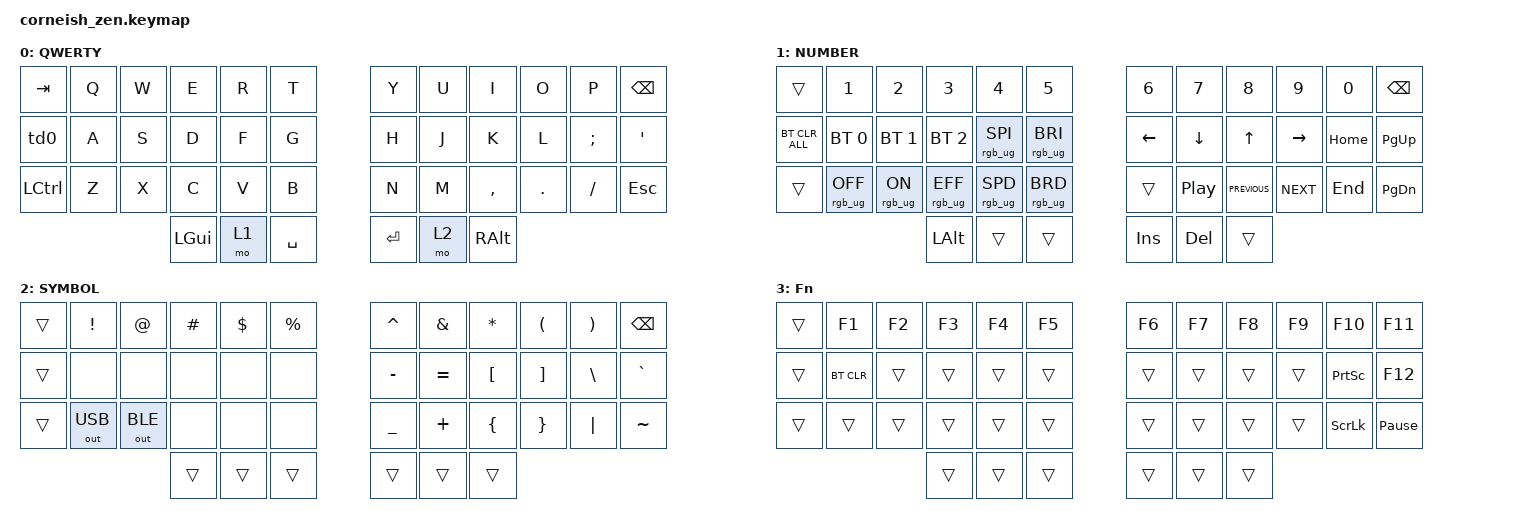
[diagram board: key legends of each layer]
/*
 * Copyright (c) 2020 The ZMK Contributors
 *
 * SPDX-License-Identifier: MIT
 */

#include <behaviors.dtsi>
#include <dt-bindings/zmk/bt.h>
#include <dt-bindings/zmk/keys.h>
#include <dt-bindings/zmk/outputs.h>
#include <dt-bindings/zmk/rgb.h>

/ {
    chosen {
        zmk,matrix_transform = &default_transform;

        // zmk,matrix_transform = &five_column_transform;
    };
};

/ {
    behaviors {
        td0: td0 {
            compatible = "zmk,behavior-tap-dance";
            label = "TD0";
            #binding-cells = <0>;
            bindings = <&kp LEFT_SHIFT>, <&kp CAPS>;
        };
    };

    keymap {
        compatible = "zmk,keymap";

        default_layer {
            display-name = "QWERTY";

            // --------------------------------------------------------------------------------
            // |  TAB |  Q  |  W  |  E  |  R  |  T  |   |  Y  |  U   |  I  |  O  |  P  | BKSP |
            // | SHFT |  A  |  S  |  D  |  F  |  G  |   |  H  |  J   |  K  |  L  |  ;  |  '   | 
            // | CTRL |  Z  |  X  |  C  |  V  |  B  |   |  N  |  M   |  ,  |  .  |  /  | ESC  |
            //                    | WIN | LWR | SPC |   | ENT | RSE  | ALT |

            bindings = <
&kp TAB    &kp Q  &kp W  &kp E     &kp R  &kp T        &kp Y      &kp U  &kp I      &kp O    &kp P     &kp BSPC
&td0       &kp A  &kp S  &kp D     &kp F  &kp G        &kp H      &kp J  &kp K      &kp L    &kp SEMI  &kp SQT
&kp LCTRL  &kp Z  &kp X  &kp C     &kp V  &kp B        &kp N      &kp M  &kp COMMA  &kp DOT  &kp FSLH  &kp ESC
                         &kp LGUI  &mo 1  &kp SPACE    &kp RET    &mo 2  &kp RALT
            >;
        };

        lower_layer {
            display-name = "NUMBER";

            // -----------------------------------------------------------------------------------------
            // |  TAB |  1  |  2  |  3  |  4  |  5  |   |  6  |  7  |  8  |  9  |  0  | BKSP |
            // | BTCLR| BT1 | BT2 | BT3 |RGBSI|RGBBI|   | LFT | DWN |  UP | RGT | HOME| PGUP |
            // | CTRL |RGBOF|RGBON|RGBEF|RGBSD|RGBBD|   |     |  PP | PRVS| NEXT| END | PGDN |
            //                    | ALT |     | SPC |   | INS | DEL | ALT |

            bindings = <
&trans          &kp N1           &kp N2          &kp N3           &kp N4           &kp N5             &kp N6    &kp N7    &kp N8          &kp N9      &kp N0    &kp BSPC
&bt BT_CLR_ALL  &bt BT_SEL 0     &bt BT_SEL 1    &bt BT_SEL 2     &rgb_ug RGB_SPI  &rgb_ug RGB_BRI    &kp LEFT  &kp DOWN  &kp UP          &kp RIGHT   &kp HOME  &kp PG_UP
&trans          &rgb_ug RGB_OFF  &rgb_ug RGB_ON  &rgb_ug RGB_EFF  &rgb_ug RGB_SPD  &rgb_ug RGB_BRD    &trans    &kp C_PP  &kp C_PREVIOUS  &kp C_NEXT  &kp END   &kp PG_DN
                                                 &kp LALT         &trans           &trans             &kp INS   &kp DEL   &trans
            >;
        };

        raise_layer {
            display-name = "SYMBOL";

            // -----------------------------------------------------------------------------------------
            // |  TAB |  !  |  @  |  #  |  $  |  %  |   |  ^  |  &  |  *  |  (  |  )  | BKSP |
            // | SHFT |     |     |     |     |     |   |  -  |  =  |  [  |  ]  |  \  |  `   |
            // | CTRL |OPUSB| OPBT|     |     |     |   |  _  |  +  |  {  |  }  | "|" |  ~   |
            //                    | WIN |     | SPC |   | ENT |     | ALT |

            bindings = <
&trans  &kp EXCL      &kp AT        &kp HASH  &kp DLLR  &kp PRCNT    &kp CARET  &kp AMPS   &kp ASTRK  &kp LPAR  &kp RPAR  &kp BSPC
&trans  &none         &none         &none     &none     &none        &kp MINUS  &kp EQUAL  &kp LBKT   &kp RBKT  &kp BSLH  &kp GRAVE
&trans  &out OUT_USB  &out OUT_BLE  &none     &none     &none        &kp UNDER  &kp PLUS   &kp LBRC   &kp RBRC  &kp PIPE  &kp TILDE
                                    &trans    &trans    &trans       &trans     &trans     &trans
            >;
        };

        layer_3 {
            display-name = "Fn";

            // -----------------------------------------------------------------------------------------
            // |  TAB | Fn1 | Fn2 | Fn3 | Fn4 | Fn5 |   | Fn6 | Fn7 | Fn8 | Fn9 | Fn10| Fn11 |
            // | SHFT |     |     |     |     |     |   |     |     |     |     |PSCRN| Fn12 |
            // | CTRL |     |     |     |     |     |   |     |     |     |     |S_LOK| P_BRK|
            //                    | WIN |     | SPC |   | ENT |     | ALT |

            bindings = <
&trans  &kp F1      &kp F2  &kp F3  &kp F4      &kp F5         &kp F6       &kp F7  &kp F8  &kp F9  &kp F10          &kp F11
&trans  &bt BT_CLR  &trans  &trans  &trans      &trans         &trans       &trans  &trans  &trans  &kp PRINTSCREEN  &kp F12
&trans  &trans      &trans  &trans  &trans      &trans         &trans       &trans  &trans  &trans  &kp SCROLLLOCK   &kp PAUSE_BREAK
                            &trans  &trans      &trans         &trans       &trans  &trans
            >;
        };
    };

    conditional_layers {
        compatible = "zmk,conditional-layers";

        both {
            if-layers = <1 2>;
            then-layer = <3>;
        };
    };
};
